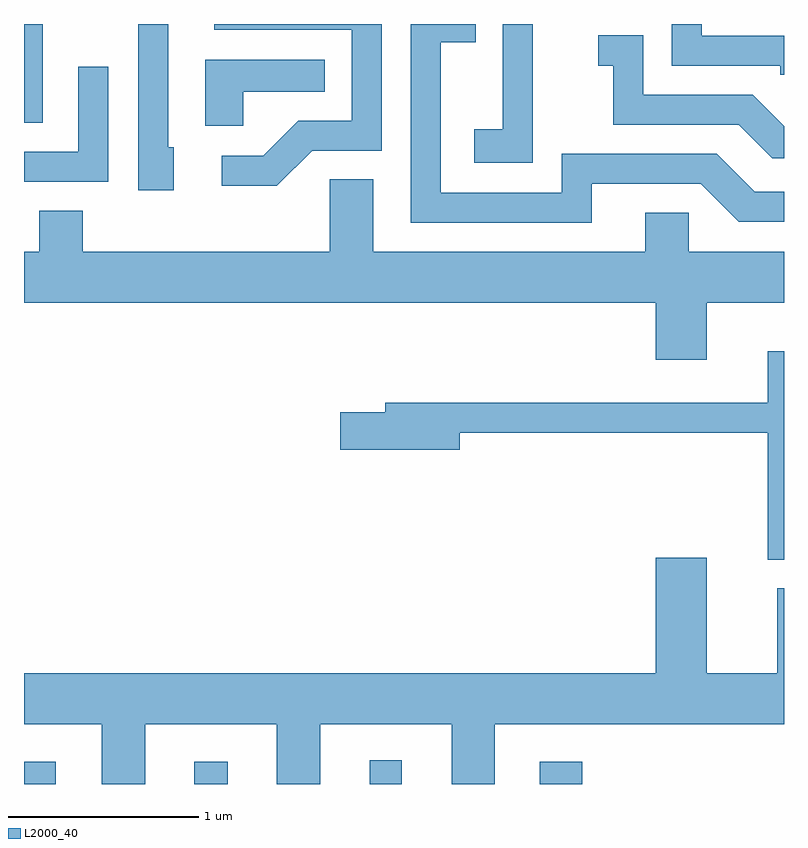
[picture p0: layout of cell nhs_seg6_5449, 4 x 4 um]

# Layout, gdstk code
import gdstk
lib = gdstk.Library(unit=1e-6, precision=1e-09)
def R(c, l, rs):  # rectangles x0, y0, x1, y1
    for r in rs: c.add(gdstk.rectangle(r[:2], r[2:], *l))
def P(c, l, *ps):  # polygons
    for p in ps: c.add(gdstk.Polygon(p, *l))
L2000_40 = (2000, 40)

nhs_seg6_5449 = lib.new_cell('nhs_seg6_5449')
R(nhs_seg6_5449, L2000_40, [(351.611,1554.162,351.779,1554.279), (352.506,1554.162,352.684,1554.279), (353.431,1554.162,353.599,1554.288), (354.326,1554.162,354.549,1554.279), (351.611,1557.641,351.709,1558.162)])
P(nhs_seg6_5449, L2000_40, [(354.599,1557.321),(355.174,1557.321),(355.374,1557.121),(355.611,1557.121),(355.611,1557.279),(355.457,1557.279),(355.257,1557.479),(354.441,1557.479),(354.441,1557.274),(353.804,1557.274),(353.804,1558.066),(353.988,1558.066),(353.988,1558.162),(353.646,1558.162),(353.646,1557.116),(354.599,1557.116)],
  [(352.399,1557.514),(352.369,1557.514),(352.369,1558.162),(352.211,1558.162),(352.211,1557.286),(352.399,1557.286)],
  [(355.611,1558.099),(355.179,1558.099),(355.179,1558.162),(355.021,1558.162),(355.021,1557.941),(355.591,1557.941),(355.591,1557.896),(355.611,1557.896)],
  [(354.289,1558.162),(354.131,1558.162),(354.131,1557.609),(353.981,1557.609),(353.981,1557.431),(354.289,1557.431)],
  [(353.127,1557.496),(353.494,1557.496),(353.494,1558.162),(352.613,1558.162),(352.613,1558.131),(353.336,1558.131),(353.336,1557.654),(353.054,1557.654),(352.869,1557.469),(352.653,1557.469),(352.653,1557.311),(352.942,1557.311)],
  [(355.611,1557.625),(355.447,1557.789),(354.869,1557.789),(354.869,1558.104),(354.633,1558.104),(354.633,1557.941),(354.711,1557.941),(354.711,1557.631),(355.374,1557.631),(355.549,1557.456),(355.611,1557.456)],
  [(352.764,1557.806),(353.193,1557.806),(353.193,1557.974),(352.566,1557.974),(352.566,1557.626),(352.764,1557.626)],
  [(352.054,1557.938),(351.896,1557.938),(351.896,1557.489),(351.611,1557.489),(351.611,1557.331),(352.054,1557.331)],
  [(355.204,1556.696),(355.611,1556.696),(355.611,1556.964),(355.109,1556.964),(355.109,1557.169),(354.881,1557.169),(354.881,1556.964),(353.449,1556.964),(353.449,1557.344),(353.221,1557.344),(353.221,1556.964),(351.919,1556.964),(351.919,1557.179),(351.691,1557.179),(351.691,1556.964),(351.611,1556.964),(351.611,1556.696),(354.936,1556.696),(354.936,1556.396),(355.204,1556.396)],
  [(355.611,1556.439),(355.526,1556.439),(355.526,1556.169),(353.511,1556.169),(353.511,1556.119),(353.276,1556.119),(353.276,1555.921),(353.904,1555.921),(353.904,1556.011),(355.526,1556.011),(355.526,1555.341),(355.611,1555.341)],
  [(352.249,1554.476),(352.941,1554.476),(352.941,1554.162),(353.169,1554.162),(353.169,1554.476),(353.861,1554.476),(353.861,1554.162),(354.089,1554.162),(354.089,1554.476),(355.611,1554.476),(355.611,1555.193),(355.576,1555.193),(355.576,1554.744),(355.204,1554.744),(355.204,1555.354),(354.936,1555.354),(354.936,1554.744),(351.611,1554.744),(351.611,1554.476),(352.021,1554.476),(352.021,1554.162),(352.249,1554.162)])

lib.write_gds('nhs_seg6_5449.gds')
